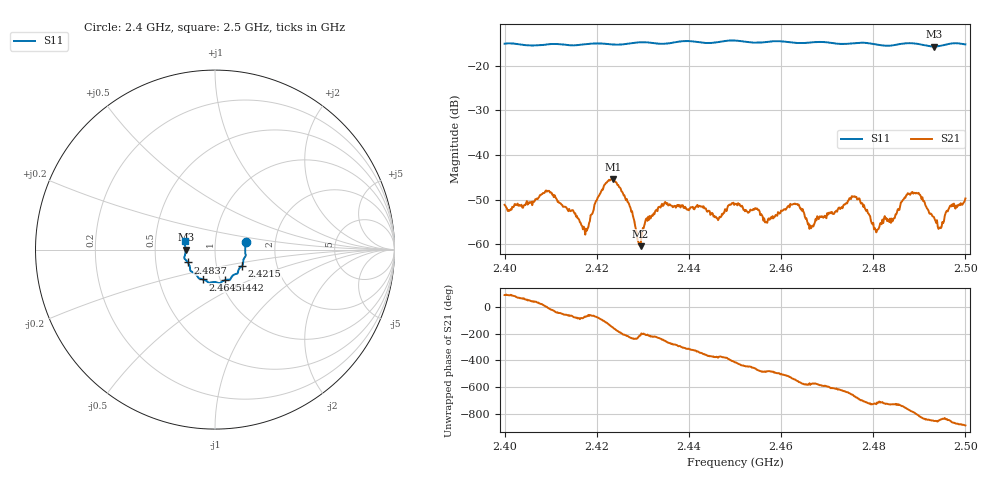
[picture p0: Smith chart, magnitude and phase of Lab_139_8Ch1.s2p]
# Hz S RI R 50
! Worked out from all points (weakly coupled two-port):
!   601 points, 2.4 GHz to 2.5 GHz, reference 50 ohm
!   highest |S21| = -45.34 dB at 2.4235 GHz (marker M1); lowest = -60.4 dB at 2.4295 GHz (marker M2)
!   lowest |S11| = -15.7 dB at 2.4932 GHz (marker M3), VSWR 1.39, Z = 35.9 - j0.0538 ohm
!   |S11| at or under -10 dB: start of sweep to end of sweep
!   S12 and S22 are empty: the file has one direction only
!   S11 on the Smith chart (normalised r, x): 2.4 GHz: 1.41, +0.12; 2.4215 GHz: 1.33, -0.25; 2.4442 GHz: 1.05, -0.37; 2.4645 GHz: 0.83, -0.29; 2.4837 GHz: 0.73, -0.11; 2.5 GHz: 0.71, +0.07
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2.4e9  0.1712 0.0402  9.42e-05 0.00277  0 0  0 0
2.4095e9  0.171 -0.0277  0.00391 -0.00066  0 0  0 0
2.416667e9  0.1567 -0.0698  0.000178 -0.00163  0 0  0 0
2.418e9  0.1556 -0.079  0.000568 -0.00139  0 0  0 0
2.4215e9  0.1511 -0.0899  -0.00109 -0.0043  0 0  0 0
2.4235e9  0.1416 -0.0981  -0.00487 -0.00234  0 0  0 0
2.426833e9  0.1288 -0.1201  -0.00225 0.0019  0 0  0 0
2.4295e9  0.1269 -0.1315  -0.000799 0.000523  0 0  0 0
2.433333e9  0.1083 -0.1385  -0.0016 0.00205  0 0  0 0
2.444167e9  0.0564 -0.1696  0.00234 -0.000335  0 0  0 0
2.45e9  0.0249 -0.189  0.00162 -0.00231  0 0  0 0
2.456667e9  -0.0212 -0.182  -0.00106 -0.00141  0 0  0 0
2.4645e9  -0.0659 -0.166  -0.00201 0.00129  0 0  0 0
2.466667e9  -0.0826 -0.162  -0.00128 0.000918  0 0  0 0
2.475833e9  -0.1285 -0.1231  0.00207 0.00271  0 0  0 0
2.480667e9  -0.1386 -0.1016  0.00135 -0.000186  0 0  0 0
2.483333e9  -0.149 -0.0749  0.0018 -0.000236  0 0  0 0
2.483667e9  -0.151 -0.0717  0.00191 -0.000334  0 0  0 0
2.488833e9  -0.1712 -0.0453  0.00131 -0.00353  0 0  0 0
2.493167e9  -0.1635 -0.000728  -0.00138 -0.00148  0 0  0 0
2.4945e9  -0.1654 0.0158  -0.000866 -0.00128  0 0  0 0
2.5e9  -0.1651 0.0505  -0.00317 -0.000768  0 0  0 0
